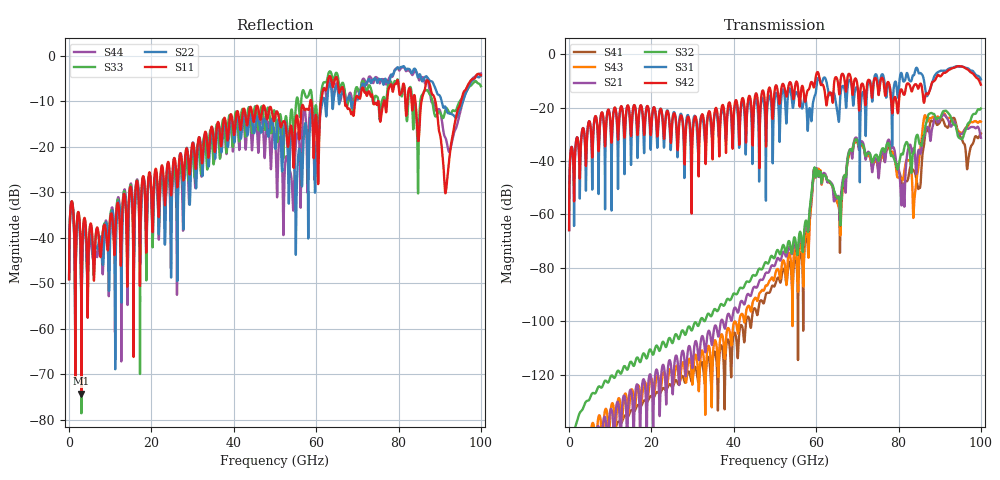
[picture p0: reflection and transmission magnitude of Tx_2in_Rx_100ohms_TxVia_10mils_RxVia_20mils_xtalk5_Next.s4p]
! Info: Touchstone file created by Circ.  Input file=Tx_2in_Rx_100ohms_TxVia_10mils_RxVia_20mils.circ
# Hz S RI R 50
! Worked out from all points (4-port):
!   10000 points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, 10 MHz to 100 GHz, reference 50 ohm
!   strongest paths, dB at 10 MHz, 25.01 GHz, 50.01 GHz, 75.01 GHz, 100 GHz:
!     S42: -65.9, -26.4, -12.7, -13.8, -11.4
!     S31: -65.9, -25.7, -15.9, -11.0, -9.5
!     S32: -177.7, -108.1, -75.8, -39.4, -20.3
!     S21: -, -122.5, -79.0, -43.5, -31.3
!     S43: -154.4, -120.6, -82.7, -41.5, -25.3
!     S41: -154.6, -124.7, -86.4, -42.9, -29.7
!   lowest |S11| = -74.2 dB at 3.01 GHz (marker M1), VSWR 1.00, Z = 50 + j0.00785 ohm
!   |S11| at or under -10 dB: start of sweep to 58.58 GHz; 66.94 GHz to 69.48 GHz (2.537 GHz wide, 3.72 % of centre); 88.95 GHz to 95.16 GHz (6.206 GHz wide, 6.74 % of centre) (the widest 3 of 10)
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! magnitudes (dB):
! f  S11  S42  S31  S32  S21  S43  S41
! 10 MHz  -49.1  -65.9  -65.9  -177.7  -  -154.4  -154.6
! 3.01 GHz  -74.2  -30.6  -30.7  -133.5  -169.9  -150.9  -160.0
! 52.63 GHz  -15.6  -15.2  -22.7  -74.3  -75.7  -83.1  -84.3
! 69.56 GHz  -9.5  -9.1  -12.8  -31.9  -31.2  -32.8  -32.5
! 83.82 GHz  -8.7  -11.6  -7.6  -36.4  -35.6  -55.0  -43.8
! 86.43 GHz  -7.3  -16.2  -12.6  -27.8  -30.1  -22.8  -30.4
! 100 GHz  -4.3  -11.4  -9.5  -20.3  -31.3  -25.3  -29.7
